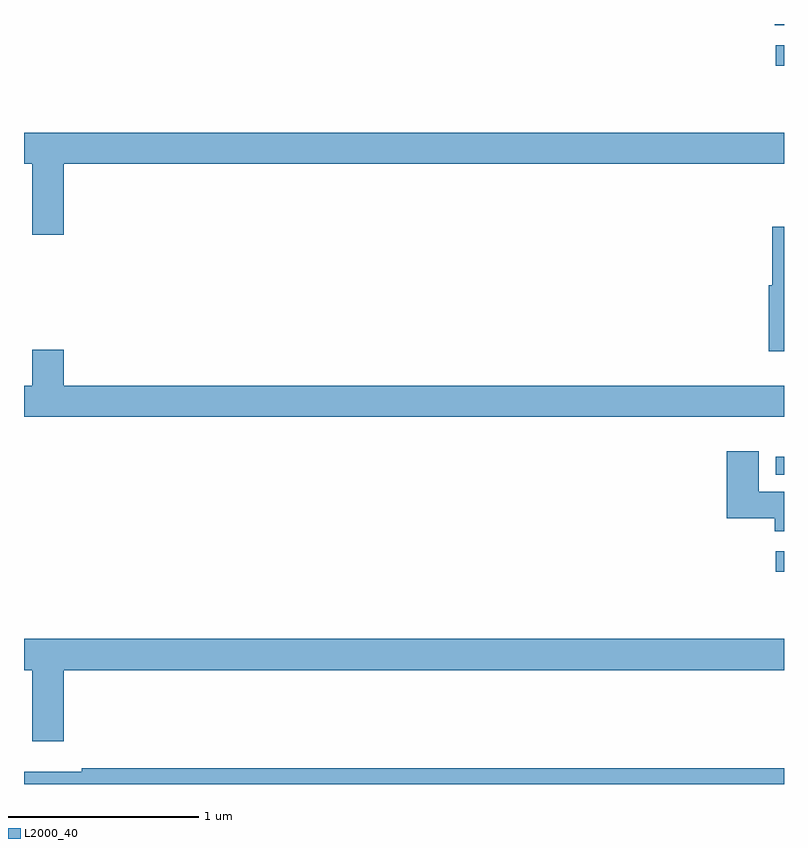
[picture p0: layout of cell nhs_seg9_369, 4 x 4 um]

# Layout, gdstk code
import gdstk
lib = gdstk.Library(unit=1e-6, precision=1e-09)
def R(c, l, rs):  # rectangles x0, y0, x1, y1
    for r in rs: c.add(gdstk.rectangle(r[:2], r[2:], *l))
def P(c, l, *ps):  # polygons
    for p in ps: c.add(gdstk.Polygon(p, *l))
L2000_40 = (2000, 40)

nhs_seg9_369 = lib.new_cell('nhs_seg9_369')
R(nhs_seg9_369, L2000_40, [(132.957,1183.617,133,1183.725), (132.957,1184.127,133,1184.223), (132.957,1186.281,133,1186.389), (132.95,1186.493,133,1186.5)])
P(nhs_seg9_369, L2000_40, [(129.208,1185.764),(133,1185.764),(133,1185.928),(129,1185.928),(129,1185.764),(129.044,1185.764),(129.044,1185.39),(129.208,1185.39)],
  [(133,1185.433),(132.938,1185.433),(132.938,1185.126),(132.92,1185.126),(132.92,1184.778),(133,1184.778)],
  [(133,1184.596),(129.208,1184.596),(129.208,1184.785),(129.044,1184.785),(129.044,1184.596),(129,1184.596),(129,1184.432),(133,1184.432)],
  [(133,1184.038),(132.868,1184.038),(132.868,1184.251),(132.698,1184.251),(132.698,1183.898),(132.95,1183.898),(132.95,1183.829),(133,1183.829)],
  [(129.208,1183.1),(133,1183.1),(133,1183.264),(129,1183.264),(129,1183.1),(129.044,1183.1),(129.044,1182.726),(129.208,1182.726)],
  [(133,1182.584),(129.304,1182.584),(129.304,1182.565),(129,1182.565),(129,1182.5),(133,1182.5)])

lib.write_gds('nhs_seg9_369.gds')
